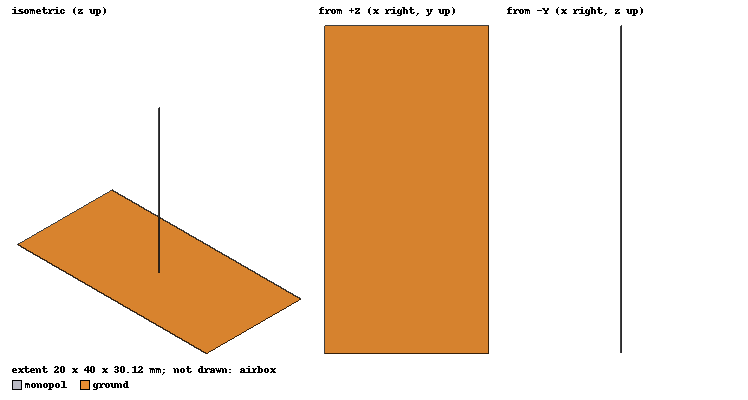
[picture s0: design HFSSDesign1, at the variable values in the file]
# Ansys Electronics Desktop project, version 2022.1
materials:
  vacuum: permittivity=1
  pec: conductivity=1e+30

design HFSSDesign1 (HFSS, DrivenModal, model units mm)
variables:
  lambda = c0/2.5GHz
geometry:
  monopol [pec] = cylinder(axis=Z, base_centre=(0mm, 0mm, 0.125mm), radius=0.0625mm, height=30mm)
  ground = rectangle(corner=(-10mm, -20mm, 0mm), x_size=20mm, y_size=40mm)
  port = rectangle(corner=(0mm, -0.0625mm, 0.125mm), y_size=0.125mm, z_size=-0.125mm)
  airbox [vacuum] = box(corner=(-10mm, -20mm, -35mm), size=(20mm, 40mm, 70mm))
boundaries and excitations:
  PerfE1: Perfect E Objects=ground
  Rad1: Radiation Objects=airbox
  1: Lumped Port Objects=port Modes{Mode1{IntLine{(0, 0, 0) -> (0, 0, 0.125)} CharImp=Zpi RenormImp=50ohm}} Impedance=50ohm
  reference conductors: ground
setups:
  Setup1: HfssDriven Frequency=2.5GHz MaxDeltaS=0.02 MaximumPasses=6 MinimumPasses=1 MinimumConvergedPasses=1 PercentRefinement=30 BasisOrder=1 PortAccuracy=2 DrivenSolverType="Direct Solver"
    sweep Sweep: 1GHz to 4GHz, 401 points; Type=Interpolating InterpTolerance=0.5 InterpMaxSolns=250 InterpUsePortImped=false PassivityErrorTolerance=0.0001
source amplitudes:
  1:1: 1W 0deg
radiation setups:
  Infinite Sphere1: Infinite Sphere Theta=-180deg..180deg step 10deg Phi=0deg..360deg step 10deg
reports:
  S Parameter Plot 1: dB(S(1,1)) vs Freq on Setup1 : Sweep
  VSWR Plot 1: VSWR(1) vs Freq on Setup1 : Sweep
  Gain Plot 1: dB(GainPhi), dB(GainTheta) vs Theta on Setup1 : LastAdaptive, Infinite Sphere1 [Phi=90deg Freq=2.5GHz]
  Gain Plot 2: dB(GainPhi), dB(GainTheta) vs Phi on Setup1 : LastAdaptive, Infinite Sphere1 [Theta=90deg Freq=2.5GHz]
  Gain Plot 3: dB(GainPhi), dB(GainTheta) vs Phi, Theta on Setup1 : LastAdaptive, Infinite Sphere1 [Freq=2.5GHz]
  Gain Plot 4: dB(GainPhi), dB(GainTheta) vs Theta, Phi on Setup1 : LastAdaptive, Infinite Sphere1 [Freq=2.5GHz]
